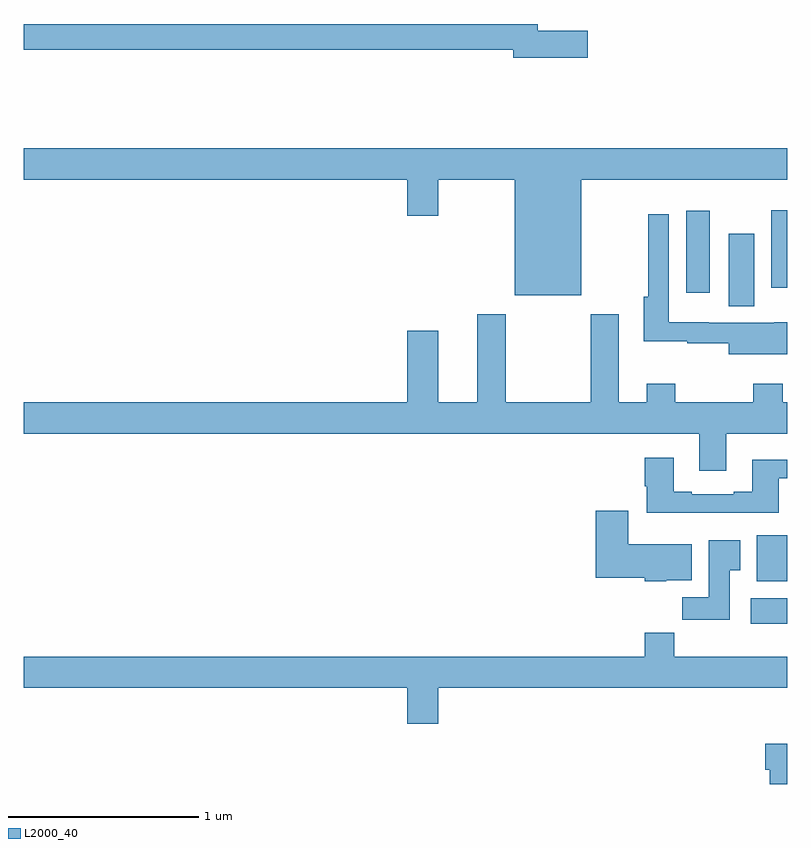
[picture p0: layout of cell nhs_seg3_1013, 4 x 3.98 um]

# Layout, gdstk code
import gdstk
lib = gdstk.Library(unit=1e-6, precision=1e-09)
def R(c, l, rs):  # rectangles x0, y0, x1, y1
    for r in rs: c.add(gdstk.rectangle(r[:2], r[2:], *l))
def P(c, l, *ps):  # polygons
    for p in ps: c.add(gdstk.Polygon(p, *l))
L2000_40 = (2000, 40)

nhs_seg3_1013 = lib.new_cell('nhs_seg3_1013')
R(nhs_seg3_1013, L2000_40, [(166.809,713.24,167,713.374), (166.841,713.462,167,713.704), (166.694,714.905,166.828,715.285), (166.472,714.975,166.594,715.405), (166.916,715.002,167,715.408)])
P(nhs_seg3_1013, L2000_40, [(165.955,716.348),(165.694,716.348),(165.694,716.384),(163,716.384),(163,716.248),(165.566,716.248),(165.566,716.206),(165.955,716.206)],
  [(165.922,715.568),(167,715.568),(167,715.732),(163,715.732),(163,715.568),(165.008,715.568),(165.008,715.38),(165.172,715.38),(165.172,715.568),(165.572,715.568),(165.572,714.962),(165.922,714.962)],
  [(167,714.821),(166.934,714.821),(166.934,714.819),(166.59,714.819),(166.59,714.82),(166.38,714.82),(166.38,715.387),(166.272,715.387),(166.272,714.955),(166.25,714.955),(166.25,714.721),(166.477,714.721),(166.477,714.711),(166.694,714.711),(166.694,714.653),(167,714.653)],
  [(166.541,714.042),(166.681,714.042),(166.681,714.236),(167,714.236),(167,714.4),(166.977,714.4),(166.977,714.499),(166.822,714.499),(166.822,714.4),(166.413,714.4),(166.413,714.499),(166.265,714.499),(166.265,714.4),(166.117,714.4),(166.117,714.862),(165.97,714.862),(165.97,714.4),(165.525,714.4),(165.525,714.862),(165.377,714.862),(165.377,714.4),(165.172,714.4),(165.172,714.775),(165.008,714.775),(165.008,714.4),(163,714.4),(163,714.236),(166.541,714.236)],
  [(166.957,714.003),(167,714.003),(167,714.1),(166.817,714.1),(166.817,713.932),(166.721,713.932),(166.721,713.919),(166.501,713.919),(166.501,713.932),(166.405,713.932),(166.405,714.109),(166.253,714.109),(166.253,713.961),(166.265,713.961),(166.265,713.822),(166.957,713.822)],
  [(166.368,713.468),(166.501,713.468),(166.501,713.656),(166.168,713.656),(166.168,713.833),(165.998,713.833),(165.998,713.48),(166.254,713.48),(166.254,713.462),(166.368,713.462)],
  [(166.699,713.521),(166.756,713.521),(166.756,713.677),(166.589,713.677),(166.589,713.38),(166.45,713.38),(166.45,713.262),(166.699,713.262)],
  [(166.253,713.192),(166.253,713.068),(163,713.068),(163,712.904),(165.008,712.904),(165.008,712.716),(165.172,712.716),(165.172,712.904),(167,712.904),(167,713.068),(166.409,713.068),(166.409,713.192)],
  [(167,712.611),(166.886,712.611),(166.886,712.474),(166.909,712.474),(166.909,712.4),(167,712.4)])

lib.write_gds('nhs_seg3_1013.gds')
